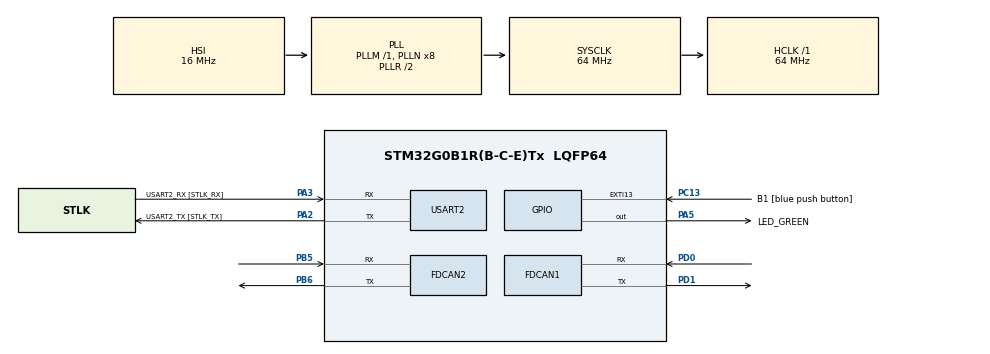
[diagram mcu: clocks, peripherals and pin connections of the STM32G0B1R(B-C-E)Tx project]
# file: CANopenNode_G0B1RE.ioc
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FDCAN1.AutoRetransmission=ENABLE
FDCAN1.CalculateBaudRateNominal=125000
FDCAN1.CalculateTimeBitNominal=8000
FDCAN1.CalculateTimeQuantumNominal=500.0
FDCAN1.DataPrescaler=16
FDCAN1.DataTimeSeg1=13
FDCAN1.DataTimeSeg2=2
FDCAN1.NominalPrescaler=32
FDCAN1.NominalTimeSeg1=13
FDCAN1.NominalTimeSeg2=2
FDCAN2.CalculateBaudRateNominal=1333333
FDCAN2.CalculateTimeBitNominal=750
FDCAN2.CalculateTimeQuantumNominal=250.0
Mcu.Family=STM32G0
Mcu.Name=STM32G0B1R(B-C-E)Tx
Mcu.Package=LQFP64
NVIC.TIM16_FDCAN_IT0_IRQn=true\:0\:0\:false\:false\:true\:true\:true\:true
NVIC.TIM17_FDCAN_IT1_IRQn=true\:0\:0\:false\:false\:true\:true\:true\:true
PA13.GPIO_Label=TMS
PA13.Mode=Serial_Wire
PA13.Signal=SYS_SWDIO
PA14-BOOT0.GPIO_Label=TCK
PA14-BOOT0.Mode=Serial_Wire
PA14-BOOT0.Signal=SYS_SWCLK
PA2.GPIO_Label=USART2_TX [STLK_TX]
PA2.Mode=Asynchronous
PA2.Signal=USART2_TX
PA3.GPIO_Label=USART2_RX [STLK_RX]
PA3.Mode=Asynchronous
PA3.Signal=USART2_RX
PA5.GPIO_Label=LED_GREEN
PA5.GPIO_Speed=GPIO_SPEED_FREQ_HIGH
PA5.Signal=GPIO_Output
PB5.Mode=FDCAN_Activate
PB5.Signal=FDCAN2_RX
PB6.Mode=FDCAN_Activate
PB6.Signal=FDCAN2_TX
PC13.GPIO_Label=B1 [blue push button]
PC13.Signal=GPXTI13
PC14-OSC32_IN\ (PC14).Mode=LSE-External-Oscillator
PC14-OSC32_IN\ (PC14).Signal=RCC_OSC32_IN
PC15-OSC32_OUT\ (PC15).Mode=LSE-External-Oscillator
PC15-OSC32_OUT\ (PC15).Signal=RCC_OSC32_OUT
PD0.Mode=FDCAN_Activate
PD0.Signal=FDCAN1_RX
PD1.Mode=FDCAN_Activate
PD1.Signal=FDCAN1_TX
PF0-OSC_IN\ (PF0).GPIO_Label=MCO
PF0-OSC_IN\ (PF0).Mode=HSE-External-Clock-Source
PF0-OSC_IN\ (PF0).Signal=RCC_OSC_IN
ProjectManager.HeapSize=0x200
ProjectManager.StackSize=0x400
ProjectManager.TargetToolchain=STM32CubeIDE
RCC.ADCFreq_Value=64000000
RCC.AHBFreq_Value=64000000
RCC.CortexFreq_Value=64000000
RCC.EXTERNAL_CLOCK_VALUE=12288000
RCC.HCLKFreq_Value=64000000
RCC.HSE_VALUE=8000000
RCC.HSI48_VALUE=48000000
RCC.HSI_VALUE=16000000
RCC.SYSCLKFreq_VALUE=64000000
RCC.SYSCLKSource=RCC_SYSCLKSOURCE_PLLCLK
RCC.USBFreq_Value=48000000
RCC.VCOOutputFreq_Value=128000000
USART2.VirtualMode-Asynchronous=VM_ASYNC
VP_SYS_VS_DBSignals.Mode=DisableDeadBatterySignals
VP_TIM17_VS_ClockSourceINT.Mode=Enable_Timer
board=NUCLEO-G0B1RE

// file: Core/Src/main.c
/* USER CODE BEGIN Header */
/**
  ******************************************************************************
  * @file           : main.c
  * @brief          : Main program body
  ******************************************************************************
  * @attention
  *
  * Copyright (c) 2025 STMicroelectronics.
  * All rights reserved.
  *
  * This software is licensed under terms that can be found in the LICENSE file
  * in the root directory of this software component.
  * If no LICENSE file comes with this software, it is provided AS-IS.
  *
  ******************************************************************************
  */
/* USER CODE END Header */
#include "main.h"
#include "fdcan.h"
#include "tim.h"
#include "usart.h"
#include "gpio.h"

/* USER CODE BEGIN Includes */
#include "CO_app_STM32.h"

/* USER CODE END Includes */

void SystemClock_Config(void);

/* USER CODE BEGIN 0 */
/* Timer interrupt function executes every 1 ms */
void
HAL_TIM_PeriodElapsedCallback(TIM_HandleTypeDef* htim) {
    if (htim == canopenNodeSTM32->timerHandle) {
    	uint8_t tx_buff[]="IT\n\n";
		HAL_UART_Transmit(&huart2, tx_buff, sizeof(tx_buff), 1000);
        canopen_app_interrupt();
    }
}

/* USER CODE END 0 */

int main(void)
{

  /* MCU Configuration--------------------------------------------------------*/

  /* Reset of all peripherals, Initializes the Flash interface and the Systick. */
  HAL_Init();

  /* Configure the system clock */
  SystemClock_Config();

  /* Initialize all configured peripherals */
  MX_GPIO_Init();
  MX_USART2_UART_Init();
  MX_FDCAN1_Init();
  MX_FDCAN2_Init();
  MX_TIM17_Init();
  /* USER CODE BEGIN 2 */

  CANopenNodeSTM32 canOpenNodeSTM32;
  canOpenNodeSTM32.CANHandle = &hfdcan1;
  canOpenNodeSTM32.HWInitFunction = MX_FDCAN1_Init;
  canOpenNodeSTM32.timerHandle = &htim17;
  canOpenNodeSTM32.desiredNodeID = 21;
  canOpenNodeSTM32.baudrate = 125;
  canopen_app_init(&canOpenNodeSTM32);
  /* USER CODE END 2 */

  /* Infinite loop */
  /* USER CODE BEGIN WHILE */
  while (1)
  {
  	//Reflect CANopenStatus on LEDs
  	HAL_GPIO_WritePin(LED_GREEN_GPIO_Port, LED_GREEN_Pin, !canOpenNodeSTM32.outStatusLEDGreen);
  	//HAL_GPIO_WritePin(LED2_GPIO_Port, LED2_Pin, !canOpenNodeSTM32.outStatusLEDRed);

  	canopen_app_process();
//  	uint8_t tx_buff[]="loop\n";
//  	HAL_UART_Transmit(&huart2, tx_buff, sizeof(tx_buff), 1000);
    /* USER CODE END WHILE */

  }
}

void SystemClock_Config(void)
{
  RCC_OscInitTypeDef RCC_OscInitStruct = {0};
  RCC_ClkInitTypeDef RCC_ClkInitStruct = {0};

  /** Configure the main internal regulator output voltage
  */
  HAL_PWREx_ControlVoltageScaling(PWR_REGULATOR_VOLTAGE_SCALE1);

  /** Initializes the RCC Oscillators according to the specified parameters
  * in the RCC_OscInitTypeDef structure.
  */
  RCC_OscInitStruct.OscillatorType = RCC_OSCILLATORTYPE_HSI;
  RCC_OscInitStruct.HSIState = RCC_HSI_ON;
  RCC_OscInitStruct.HSIDiv = RCC_HSI_DIV1;
  RCC_OscInitStruct.HSICalibrationValue = RCC_HSICALIBRATION_DEFAULT;
  RCC_OscInitStruct.PLL.PLLState = RCC_PLL_ON;
  RCC_OscInitStruct.PLL.PLLSource = RCC_PLLSOURCE_HSI;
  RCC_OscInitStruct.PLL.PLLM = RCC_PLLM_DIV1;
  RCC_OscInitStruct.PLL.PLLN = 8;
  RCC_OscInitStruct.PLL.PLLP = RCC_PLLP_DIV2;
  RCC_OscInitStruct.PLL.PLLQ = RCC_PLLQ_DIV2;
  RCC_OscInitStruct.PLL.PLLR = RCC_PLLR_DIV2;
  if (HAL_RCC_OscConfig(&RCC_OscInitStruct) != HAL_OK)
  {
    Error_Handler();
  }

  /** Initializes the CPU, AHB and APB buses clocks
  */
  RCC_ClkInitStruct.ClockType = RCC_CLOCKTYPE_HCLK|RCC_CLOCKTYPE_SYSCLK
                              |RCC_CLOCKTYPE_PCLK1;
  RCC_ClkInitStruct.SYSCLKSource = RCC_SYSCLKSOURCE_PLLCLK;
  RCC_ClkInitStruct.AHBCLKDivider = RCC_SYSCLK_DIV1;
  RCC_ClkInitStruct.APB1CLKDivider = RCC_HCLK_DIV1;

  if (HAL_RCC_ClockConfig(&RCC_ClkInitStruct, FLASH_LATENCY_2) != HAL_OK)
  {
    Error_Handler();
  }
}

void Error_Handler(void)
{
  __disable_irq();
  while (1)
  {
  }
}
